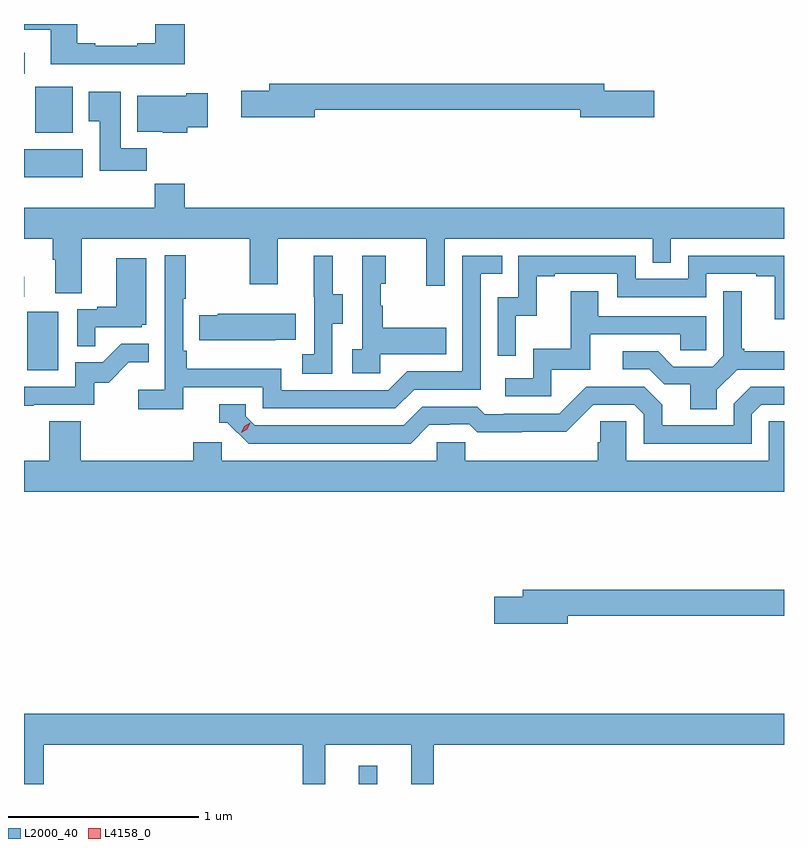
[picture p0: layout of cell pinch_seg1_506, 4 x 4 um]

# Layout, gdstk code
import gdstk
lib = gdstk.Library(unit=1e-6, precision=1e-09)
def R(c, l, rs):  # rectangles x0, y0, x1, y1
    for r in rs: c.add(gdstk.rectangle(r[:2], r[2:], *l))
def P(c, l, *ps):  # polygons
    for p in ps: c.add(gdstk.Polygon(p, *l))
L2000_40 = (2000, 40)
L4158_0 = (4158, 0)

pinch_seg1_506 = lib.new_cell('pinch_seg1_506')
R(pinch_seg1_506, L2000_40, [(1115.672,531.546,1115.769,531.643), (1113.926,533.724,1114.09,534.031), (1113.909,534.111,1113.91,534.217), (1113.909,534.74,1114.219,534.886), (1113.968,534.974,1114.165,535.216), (1113.909,535.283,1113.913,535.396)])
P(pinch_seg1_506, L2000_40, [(1114.754,535.546),(1114.601,535.546),(1114.601,535.444),(1114.505,535.444),(1114.505,535.431),(1114.285,535.431),(1114.285,535.444),(1114.189,535.444),(1114.189,535.546),(1113.909,535.546),(1113.909,535.515),(1114.049,535.515),(1114.049,535.334),(1114.754,535.334)],
  [(1115.44,535.096),(1116.836,535.096),(1116.836,535.054),(1117.225,535.054),(1117.225,535.196),(1116.964,535.196),(1116.964,535.232),(1115.201,535.232),(1115.201,535.196),(1115.052,535.196),(1115.052,535.054),(1115.44,535.054)],
  [(1114.556,534.892),(1114.417,534.892),(1114.417,535.189),(1114.25,535.189),(1114.25,535.033),(1114.307,535.033),(1114.307,534.774),(1114.556,534.774)],
  [(1114.769,535.003),(1114.876,535.003),(1114.876,535.181),(1114.763,535.181),(1114.763,535.168),(1114.505,535.168),(1114.505,534.98),(1114.638,534.98),(1114.638,534.974),(1114.769,534.974)],
  [(1114.213,534.416),(1115.098,534.416),(1115.098,534.177),(1115.245,534.177),(1115.245,534.416),(1116.026,534.416),(1116.026,534.168),(1116.123,534.168),(1116.123,534.416),(1117.218,534.416),(1117.218,534.289),(1117.314,534.289),(1117.314,534.416),(1117.909,534.416),(1117.909,534.58),(1114.754,534.58),(1114.754,534.704),(1114.597,534.704),(1114.597,534.58),(1113.909,534.58),(1113.909,534.416),(1114.061,534.416),(1114.061,534.304),(1114.073,534.304),(1114.073,534.13),(1114.213,534.13)],
  [(1114.748,533.634),(1115.166,533.634),(1115.166,533.523),(1115.863,533.523),(1115.962,533.622),(1116.312,533.622),(1116.312,534.231),(1116.425,534.231),(1116.425,534.327),(1116.216,534.327),(1116.216,533.718),(1115.925,533.718),(1115.826,533.619),(1115.262,533.619),(1115.262,533.731),(1114.766,533.731),(1114.766,533.827),(1114.746,533.827),(1114.746,534.1),(1114.759,534.1),(1114.759,534.328),(1114.65,534.328),(1114.65,533.62),(1114.509,533.62),(1114.509,533.518),(1114.748,533.518)],
  [(1116.498,534.011),(1116.608,534.011),(1116.608,534.219),(1116.703,534.219),(1116.703,534.231),(1117.032,534.231),(1117.032,534.108),(1117.5,534.108),(1117.5,534.231),(1117.763,534.231),(1117.763,534.219),(1117.859,534.219),(1117.859,533.993),(1117.909,533.993),(1117.909,534.327),(1117.404,534.327),(1117.404,534.204),(1117.128,534.204),(1117.128,534.327),(1116.51,534.327),(1116.51,534.108),(1116.402,534.108),(1116.402,533.799),(1116.498,533.799)],
  [(1115.532,533.968),(1115.587,533.968),(1115.587,534.123),(1115.533,534.123),(1115.533,534.325),(1115.435,534.325),(1115.435,534.111),(1115.436,534.111),(1115.436,533.807),(1115.373,533.807),(1115.373,533.704),(1115.532,533.704)],
  [(1115.784,533.807),(1116.131,533.807),(1116.131,533.947),(1115.797,533.947),(1115.797,534.062),(1115.787,534.062),(1115.787,534.18),(1115.812,534.18),(1115.812,534.325),(1115.688,534.325),(1115.688,533.834),(1115.637,533.834),(1115.637,533.709),(1115.784,533.709)],
  [(1114.283,533.949),(1114.53,533.949),(1114.53,533.964),(1114.552,533.964),(1114.552,534.313),(1114.394,534.313),(1114.394,534.058),(1114.295,534.058),(1114.295,534.045),(1114.188,534.045),(1114.188,533.851),(1114.283,533.851)],
  [(1116.684,533.727),(1116.889,533.727),(1116.889,533.913),(1117.363,533.913),(1117.363,533.829),(1117.5,533.829),(1117.5,534.009),(1116.931,534.009),(1116.931,534.139),(1116.787,534.139),(1116.787,533.836),(1116.588,533.836),(1116.588,533.682),(1116.441,533.682),(1116.441,533.586),(1116.684,533.586)],
  [(1117.555,533.62),(1117.662,533.727),(1117.909,533.727),(1117.909,533.824),(1117.699,533.824),(1117.699,533.836),(1117.687,533.836),(1117.687,534.139),(1117.59,534.139),(1117.59,533.799),(1117.533,533.742),(1117.327,533.742),(1117.246,533.823),(1117.059,533.823),(1117.059,533.73),(1117.2,533.73),(1117.28,533.65),(1117.415,533.65),(1117.415,533.518),(1117.555,533.518)],
  [(1115.231,533.885),(1115.339,533.885),(1115.339,534.022),(1114.929,534.022),(1114.929,534.012),(1114.831,534.012),(1114.831,533.882),(1115.231,533.882)],
  [(1113.959,533.541),(1114.278,533.541),(1114.278,533.658),(1114.354,533.658),(1114.461,533.765),(1114.565,533.765),(1114.565,533.864),(1114.421,533.864),(1114.323,533.766),(1114.179,533.766),(1114.179,533.637),(1113.909,533.637),(1113.909,533.536),(1113.959,533.536)],
  [(1116.043,533.436),(1116.15,533.436),(1116.15,533.439),(1116.253,533.439),(1116.295,533.397),(1116.528,533.397),(1116.528,533.399),(1116.764,533.399),(1116.906,533.541),(1117.122,533.541),(1117.17,533.493),(1117.17,533.337),(1117.74,533.337),(1117.74,533.493),(1117.788,533.541),(1117.909,533.541),(1117.909,533.637),(1117.734,533.637),(1117.644,533.547),(1117.644,533.433),(1117.267,533.433),(1117.267,533.543),(1117.173,533.637),(1116.867,533.637),(1116.726,533.496),(1116.433,533.496),(1116.433,533.493),(1116.334,533.493),(1116.295,533.532),(1116.006,533.532),(1115.907,533.433),(1115.124,533.433),(1115.076,533.481),(1115.076,533.544),(1114.937,533.544),(1114.937,533.448),(1114.98,533.448),(1115.091,533.337),(1115.944,533.337)],
  [(1114.799,533.346),(1114.799,533.248),(1114.208,533.248),(1114.208,533.456),(1114.043,533.456),(1114.043,533.248),(1113.909,533.248),(1113.909,533.084),(1117.909,533.084),(1117.909,533.456),(1117.83,533.456),(1117.83,533.248),(1117.08,533.248),(1117.08,533.456),(1116.943,533.456),(1116.943,533.346),(1116.929,533.346),(1116.929,533.248),(1116.231,533.248),(1116.231,533.346),(1116.081,533.346),(1116.081,533.248),(1114.95,533.248),(1114.95,533.346)],
  [(1116.772,532.432),(1117.909,532.432),(1117.909,532.568),(1116.533,532.568),(1116.533,532.532),(1116.384,532.532),(1116.384,532.39),(1116.772,532.39)],
  [(1114.013,531.752),(1115.377,531.752),(1115.377,531.546),(1115.495,531.546),(1115.495,531.752),(1115.948,531.752),(1115.948,531.546),(1116.065,531.546),(1116.065,531.752),(1117.909,531.752),(1117.909,531.916),(1113.909,531.916),(1113.909,531.546),(1114.013,531.546)])
P(pinch_seg1_506, L4158_0, [(1115.053,533.395),(1115.053,533.395),(1115.069,533.428),(1115.1,533.447),(1115.1,533.447),(1115.1,533.447),(1115.084,533.414),(1115.053,533.395)])

lib.write_gds('pinch_seg1_506.gds')
